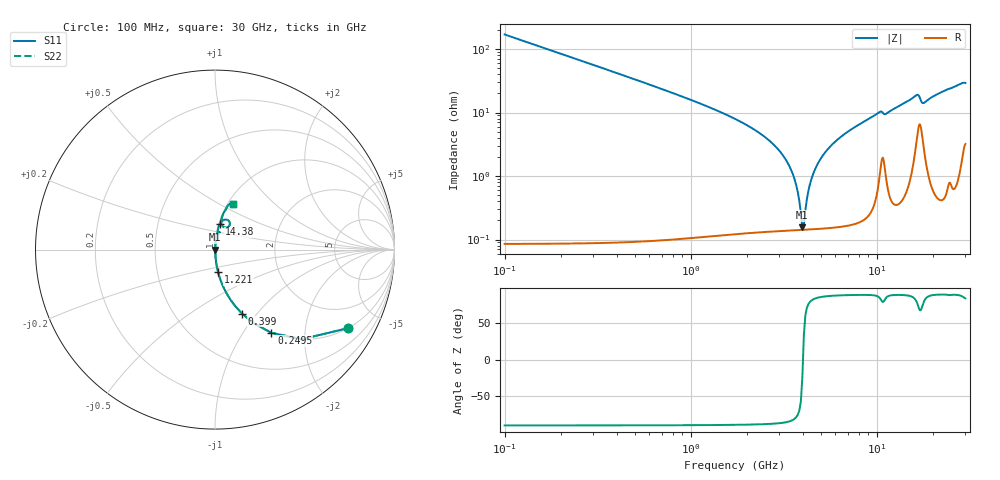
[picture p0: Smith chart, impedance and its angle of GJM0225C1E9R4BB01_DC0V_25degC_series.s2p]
!Murata Part Number: GJM0225C1E9R4BB01
!These Parameters are Measured in Series Mode Connection
!  o--ll--o
!Port1  Port2
!  o------o
!Operation Temp=25[degC], DC Bias Voltage=0[V]
!Freq. Start=100[MHz] Stop=30[GHz], 401[Steps]
!Data Generated on Feb 1, 2023
# Hz S RI R 50
!Freq.(Hz) S11(Real) S11(Imag) S21(Real) S21(Imag) S12(Real) S12(Imag) S22(Real) S22(Imag)
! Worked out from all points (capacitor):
!   401 points, 100 MHz to 30 GHz, reference 50 ohm
!   read as one part in series: C = 9.4 pF near 249.5 MHz
!   lowest |Z| = 156 mohm at 3.987 GHz (marker M1)
!   series resonance near 4.017 GHz, so ESL is about 170 pH
!   S11 on the Smith chart (normalised r, x): 100 MHz: 1.00, -3.38; 249.5 MHz: 1.00, -1.35; 399 MHz: 1.00, -0.84; 1.221 GHz: 1.00, -0.25; 14.38 GHz: 1.01, +0.29; 30 GHz: 1.06, +0.58
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1e8  0.741 -0.4378  0.259 0.4378  0.259 0.4378  0.741 -0.4378
2.495e8  0.3138 -0.4634  0.6862 0.4634  0.6862 0.4634  0.3138 -0.4634
3.99e8  0.1505 -0.3565  0.8495 0.3565  0.8495 0.3565  0.1505 -0.3565
6.98e8  0.0532 -0.2224  0.9468 0.2224  0.9468 0.2224  0.0532 -0.2224
1.22125e9  0.0166 -0.1234  0.9834 0.1234  0.9834 0.1234  0.0166 -0.1234
3.2395e9  0.0017 -0.0182  0.9983 0.0182  0.9983 0.0182  0.0017 -0.0182
3.61325e9  0.00148 -0.00892  0.9985 0.00892  0.9985 0.00892  0.00148 -0.00892
3.987e9  0.00142 -0.000637  0.9986 0.000637  0.9986 0.000637  0.00142 -0.000637
4.1365e9  0.00143 0.00246  0.9986 -0.00246  0.9986 -0.00246  0.00143 0.00246
4.36075e9  0.00149 0.00691  0.9985 -0.00691  0.9985 -0.00691  0.00149 0.00691
4.51025e9  0.00154 0.00976  0.9985 -0.00976  0.9985 -0.00976  0.00154 0.00976
5.10825e9  0.0019 0.0204  0.9981 -0.0204  0.9981 -0.0204  0.0019 0.0204
6.8275e9  0.00385 0.0471  0.9961 -0.0471  0.9961 -0.0471  0.00385 0.0471
1.01165e10  0.015 0.0947  0.985 -0.0947  0.985 -0.0947  0.015 0.0947
1.1163e10  0.0191 0.0911  0.9809 -0.0911  0.9809 -0.0911  0.0191 0.0911
1.437725e10  0.0256 0.1405  0.9744 -0.1405  0.9744 -0.1405  0.0256 0.1405
1.505e10  0.0316 0.1509  0.9684 -0.1509  0.9684 -0.1509  0.0316 0.1509
1.6545e10  0.0712 0.1643  0.9288 -0.1643  0.9288 -0.1643  0.0712 0.1643
1.7741e10  0.0499 0.125  0.9501 -0.125  0.9501 -0.125  0.0499 0.125
2.005825e10  0.0361 0.1707  0.9639 -0.1707  0.9639 -0.1707  0.0361 0.1707
2.50665e10  0.0609 0.2243  0.9391 -0.2243  0.9391 -0.2243  0.0609 0.2243
3e10  0.1019 0.2524  0.8981 -0.2524  0.8981 -0.2524  0.1019 0.2524
